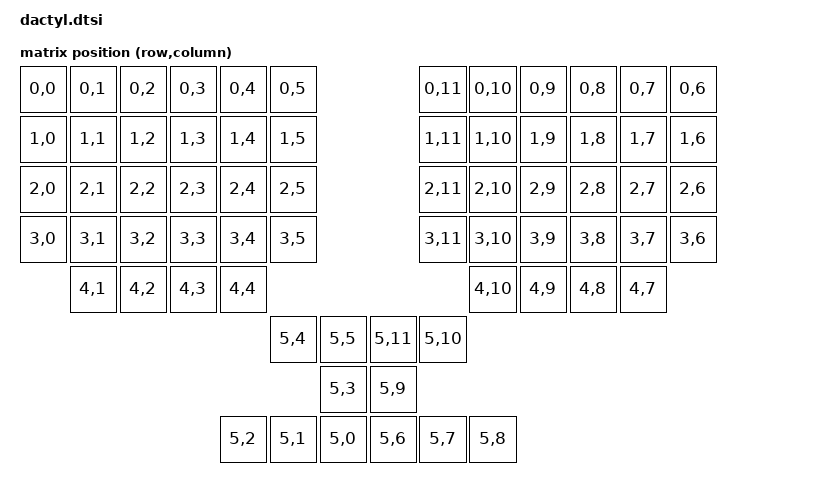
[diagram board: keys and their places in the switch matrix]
// dactyl.dtsi - Shared overlay settings between left & right split of keyboard

#include <dt-bindings/zmk/matrix_transform.h>

/ {
    // Specifies the matrix layout of both split keyboards combined
    default_transform: keymap_transform0 {
        compatible = "zmk,matrix-transform";
        columns = <12>; // Corresponds to both sides of keyboard together
        rows = <6>;

        // Visual Representation key-switches on Keyboard
        // | KS1  | KS2  | KS3  | KS4  | KS5  | KS6  |                 | KS7  | KS8  | KS9  | KS10 | KS11 | KS12 |
        // | KS13 | KS14 | KS15 | KS16 | KS17 | KS18 |                 | KS19 | KS20 | KS21 | KS22 | KS23 | KS24 |
        // | KS25 | KS26 | KS27 | KS28 | KS29 | KS30 |                 | KS31 | KS32 | KS33 | KS34 | KS35 | KS36 |
        // | KS37 | KS38 | KS39 | KS40 | KS41 | KS42 |                 | KS43 | KS44 | KS45 | KS46 | KS47 | KS48 |
        //        | KS49 | KS50 | KS51 | KS52 |                               | KS53 | KS54 | KS55 | KS56 |
        //                                    | KS57 | KS58 |   | KS59 | KS60 |
        //                                           | KS61 |   | KS62 |
        //                             | KS63 | KS64 | KS65 |   | KS66 | KS67 | KS68 |
        
        map = <
        RC(0,0) RC(0,1) RC(0,2) RC(0,3) RC(0,4) RC(0,5)                   RC(0,11) RC(0,10) RC(0,9) RC(0,8) RC(0,7) RC(0,6)
        RC(1,0) RC(1,1) RC(1,2) RC(1,3) RC(1,4) RC(1,5)                   RC(1,11) RC(1,10) RC(1,9) RC(1,8) RC(1,7) RC(1,6)
        RC(2,0) RC(2,1) RC(2,2) RC(2,3) RC(2,4) RC(2,5)                   RC(2,11) RC(2,10) RC(2,9) RC(2,8) RC(2,7) RC(2,6)
        RC(3,0) RC(3,1) RC(3,2) RC(3,3) RC(3,4) RC(3,5)                   RC(3,11) RC(3,10) RC(3,9) RC(3,8) RC(3,7) RC(3,6)
                RC(4,1) RC(4,2) RC(4,3) RC(4,4)                                    RC(4,10) RC(4,9) RC(4,8) RC(4,7)
                                                RC(5,4) RC(5,5)  RC(5,11) RC(5,10)
                                                        RC(5,3)  RC(5,9)
                                        RC(5,2) RC(5,1) RC(5,0)  RC(5,6)  RC(5,7) RC(5,8)
        >;
    };

    // Specifies the GPIO pins used on the Microcontroller to map the Columns & Rows
    kscan0: kscan0 {
        compatible = "zmk,kscan-gpio-matrix";
        diode-direction = "col2row";
        wakeup-source;

        // Rows are identical between left and right split
        row_gpios
            = <&gpio0 29 (GPIO_ACTIVE_HIGH | GPIO_PULL_DOWN)> // Row 0
            , <&gpio0 2  (GPIO_ACTIVE_HIGH | GPIO_PULL_DOWN)> // Row 1
            , <&gpio1 15 (GPIO_ACTIVE_HIGH | GPIO_PULL_DOWN)> // Row 2
            , <&gpio1 13 (GPIO_ACTIVE_HIGH | GPIO_PULL_DOWN)> // Row 3
            , <&gpio1 11 (GPIO_ACTIVE_HIGH | GPIO_PULL_DOWN)> // Row 4
            , <&gpio0 10 (GPIO_ACTIVE_HIGH | GPIO_PULL_DOWN)> // Row 5
            ;

        col_gpios
            = <&gpio0 20 GPIO_ACTIVE_HIGH> // Column 0
            , <&gpio0 22 GPIO_ACTIVE_HIGH> // Column 1
            , <&gpio0 24 GPIO_ACTIVE_HIGH> // Column 2
            , <&gpio1 0  GPIO_ACTIVE_HIGH> // Column 3
            , <&gpio0 11 GPIO_ACTIVE_HIGH> // Column 4
            , <&gpio1 4  GPIO_ACTIVE_HIGH> // column 5
        ;
    };
 
    // OPTIONAL: Allows for specifiying different "pre-baked" layouts for "dynamic keyboards"
    // Commonly used in conjunction with "ZMK Studio" to switch layouts on the fly via GUI after flashing
    physical_layout0: physical_layout0 {
        compatible = "zmk,physical-layout";
        display-name = "Default Layout";
        kscan = <&kscan0>;
        transform = <&default_transform>;
    };

    // OPTIONAL: Specifies the "default" physical layout as per the physical_layout block above
    chosen {
        zmk,kscan = &kscan0;
        zmk,physical-layout = &physical_layout0;
    };
};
